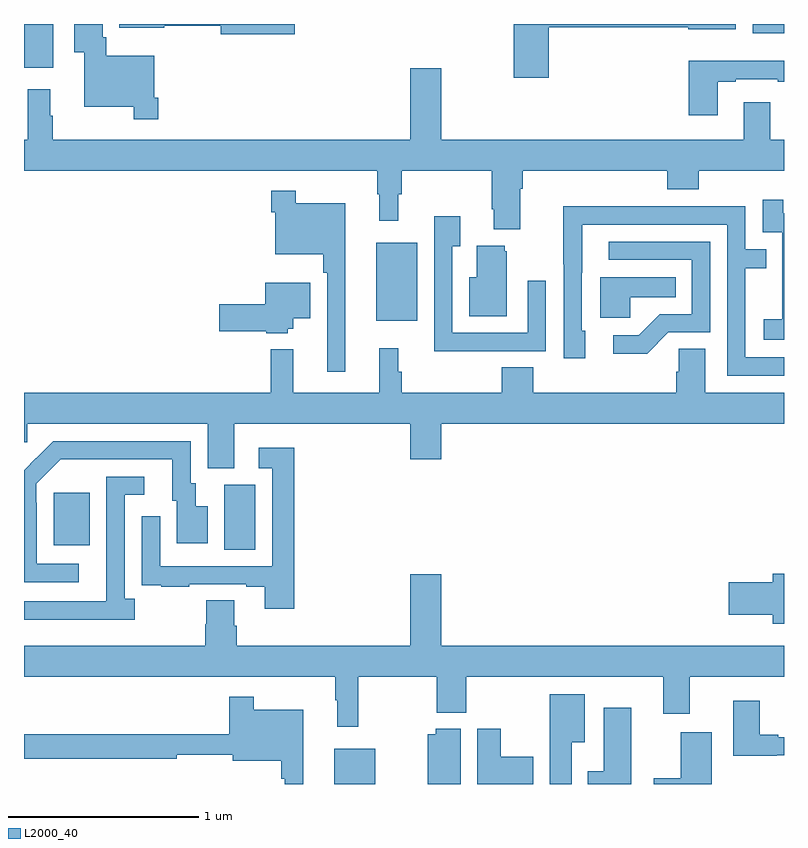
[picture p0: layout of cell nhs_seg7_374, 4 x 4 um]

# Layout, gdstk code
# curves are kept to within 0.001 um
import gdstk
lib = gdstk.Library(unit=1e-6, precision=1e-09)
def R(c, l, rs):  # rectangles x0, y0, x1, y1
    for r in rs: c.add(gdstk.rectangle(r[:2], r[2:], *l))
def P(c, l, *ps):  # polygons
    for p in ps: c.add(gdstk.Polygon(p, *l))
L2000_40 = (2000, 40)

nhs_seg7_374 = lib.new_cell('nhs_seg7_374')
R(nhs_seg7_374, L2000_40, [(140.633,1052,140.848,1052.185), (140.054,1053.232,140.218,1053.576), (139.157,1053.257,139.345,1053.532), (140.855,1054.439,141.07,1054.849), (139,1055.771,139.153,1056), (142.835,1055.952,143,1056)])
P(nhs_seg7_374, L2000_40, [(140.425,1056),(139.502,1056),(139.502,1055.981),(139.738,1055.981),(139.738,1055.992),(140.036,1055.992),(140.036,1055.945),(140.425,1055.945)],
  [(141.761,1055.983),(142.496,1055.983),(142.496,1055.972),(142.747,1055.972),(142.747,1056),(141.578,1056),(141.578,1055.718),(141.761,1055.718)],
  [(139.706,1055.611),(139.686,1055.611),(139.686,1055.833),(139.433,1055.833),(139.433,1055.929),(139.415,1055.929),(139.415,1056),(139.265,1056),(139.265,1055.852),(139.316,1055.852),(139.316,1055.564),(139.578,1055.564),(139.578,1055.499),(139.706,1055.499)],
  [(142.651,1055.697),(142.747,1055.697),(142.747,1055.709),(142.967,1055.709),(142.967,1055.697),(143,1055.697),(143,1055.806),(142.499,1055.806),(142.499,1055.52),(142.651,1055.52)],
  [(141.613,1055.132),(141.626,1055.132),(141.626,1055.228),(142.385,1055.228),(142.385,1055.129),(142.55,1055.129),(142.55,1055.228),(143,1055.228),(143,1055.392),(142.927,1055.392),(142.927,1055.587),(142.787,1055.587),(142.787,1055.392),(141.196,1055.392),(141.196,1055.767),(141.032,1055.767),(141.032,1055.392),(139.15,1055.392),(139.15,1055.516),(139.138,1055.516),(139.138,1055.656),(139.021,1055.656),(139.021,1055.392),(139,1055.392),(139,1055.228),(140.859,1055.228),(140.859,1055.105),(140.87,1055.105),(140.87,1054.965),(140.969,1054.965),(140.969,1055.105),(140.987,1055.105),(140.987,1055.228),(141.461,1055.228),(141.461,1055.026),(141.473,1055.026),(141.473,1054.919),(141.613,1054.919)],
  [(140.692,1055.056),(140.431,1055.056),(140.431,1055.122),(140.302,1055.122),(140.302,1055.009),(140.322,1055.009),(140.322,1054.787),(140.575,1054.787),(140.575,1054.691),(140.595,1054.691),(140.595,1054.17),(140.692,1054.17)],
  [(143,1055.004),(142.996,1055.004),(142.996,1055.074),(142.887,1055.074),(142.887,1054.905),(142.992,1054.905),(142.992,1054.676),(142.991,1054.676),(142.991,1054.447),(142.893,1054.447),(142.893,1054.337),(143,1054.337)],
  [(143,1054.245),(142.797,1054.245),(142.797,1054.714),(142.907,1054.714),(142.907,1054.815),(142.797,1054.815),(142.797,1055.04),(142.301,1055.04),(142.301,1055.042),(141.838,1055.042),(141.838,1054.735),(141.84,1054.735),(141.84,1054.242),(141.955,1054.242),(141.955,1054.386),(141.936,1054.386),(141.936,1054.69),(141.937,1054.69),(141.937,1054.944),(142.701,1054.944),(142.701,1054.149),(143,1054.149)],
  [(141.431,1054.278),(141.747,1054.278),(141.747,1054.648),(141.651,1054.648),(141.651,1054.374),(141.255,1054.374),(141.255,1054.831),(141.295,1054.831),(141.295,1054.987),(141.159,1054.987),(141.159,1054.277),(141.431,1054.277)],
  [(142.392,1054.377),(142.611,1054.377),(142.611,1054.854),(142.077,1054.854),(142.077,1054.758),(142.515,1054.758),(142.515,1054.473),(142.346,1054.473),(142.235,1054.362),(142.101,1054.362),(142.101,1054.265),(142.279,1054.265)],
  [(141.541,1054.803),(141.53,1054.803),(141.53,1054.834),(141.383,1054.834),(141.383,1054.666),(141.344,1054.666),(141.344,1054.463),(141.541,1054.463)],
  [(142.191,1054.562),(142.43,1054.562),(142.43,1054.666),(142.034,1054.666),(142.034,1054.454),(142.191,1054.454)],
  [(140.388,1054.395),(140.416,1054.395),(140.416,1054.451),(140.506,1054.451),(140.506,1054.639),(140.27,1054.639),(140.27,1054.526),(140.028,1054.526),(140.028,1054.384),(140.274,1054.384),(140.274,1054.373),(140.388,1054.373)],
  [(140.107,1053.896),(141.032,1053.896),(141.032,1053.708),(141.196,1053.708),(141.196,1053.896),(143,1053.896),(143,1054.06),(142.585,1054.06),(142.585,1054.292),(142.446,1054.292),(142.446,1054.169),(142.433,1054.169),(142.433,1054.06),(141.68,1054.06),(141.68,1054.193),(141.515,1054.193),(141.515,1054.06),(140.987,1054.06),(140.987,1054.169),(140.969,1054.169),(140.969,1054.294),(140.87,1054.294),(140.87,1054.06),(140.417,1054.06),(140.417,1054.288),(140.299,1054.288),(140.299,1054.06),(139,1054.06),(139,1053.798),(139.017,1053.798),(139.017,1053.896),(139.967,1053.896),(139.967,1053.661),(140.107,1053.661)],
  [(139.288,1053.159),(139.068,1053.159),(139.068,1053.479),(139.065,1053.479),(139.065,1053.579),(139.194,1053.708),(139.781,1053.708),(139.781,1053.492),(139.805,1053.492),(139.805,1053.267),(139.966,1053.267),(139.966,1053.463),(139.903,1053.463),(139.903,1053.582),(139.878,1053.582),(139.878,1053.804),(139.154,1053.804),(139,1053.652),(139,1053.063),(139.288,1053.063)],
  [(140.423,1053.769),(140.235,1053.769),(140.235,1053.663),(140.307,1053.663),(140.307,1053.147),(139.716,1053.147),(139.716,1053.409),(139.62,1053.409),(139.62,1053.154),(139.621,1053.154),(139.621,1053.045),(139.723,1053.045),(139.723,1053.039),(139.871,1053.039),(139.871,1053.051),(140.171,1053.051),(140.171,1053.039),(140.267,1053.039),(140.267,1052.922),(140.423,1052.922)],
  [(139.582,1052.974),(139.53,1052.974),(139.53,1053.522),(139.633,1053.522),(139.633,1053.618),(139.434,1053.618),(139.434,1053.161),(139.433,1053.161),(139.433,1052.961),(139,1052.961),(139,1052.864),(139.582,1052.864)],
  [(143,1053.106),(142.94,1053.106),(142.94,1053.062),(142.71,1053.062),(142.71,1052.891),(142.94,1052.891),(142.94,1052.843),(143,1052.843)],
  [(140.758,1052.564),(141.172,1052.564),(141.172,1052.375),(141.327,1052.375),(141.327,1052.564),(142.364,1052.564),(142.364,1052.37),(142.504,1052.37),(142.504,1052.564),(143,1052.564),(143,1052.728),(141.196,1052.728),(141.196,1053.103),(141.032,1053.103),(141.032,1052.728),(140.12,1052.728),(140.12,1052.834),(140.107,1052.834),(140.107,1052.966),(139.96,1052.966),(139.96,1052.841),(139.955,1052.841),(139.955,1052.728),(139,1052.728),(139,1052.564),(140.637,1052.564),(140.637,1052.441),(140.648,1052.441),(140.648,1052.301),(140.758,1052.301)],
  [(141.883,1052.219),(141.952,1052.219),(141.952,1052.473),(141.767,1052.473),(141.767,1052),(141.883,1052)],
  [(140.47,1052.392),(140.209,1052.392),(140.209,1052.458),(140.08,1052.458),(140.08,1052.263),(139,1052.263),(139,1052.134),(139.803,1052.134),(139.803,1052.153),(140.099,1052.153),(140.099,1052.123),(140.353,1052.123),(140.353,1052.027),(140.373,1052.027),(140.373,1052),(140.47,1052)],
  [(142.961,1052.151),(143,1052.151),(143,1052.247),(142.969,1052.247),(142.969,1052.26),(142.873,1052.26),(142.873,1052.437),(142.733,1052.437),(142.733,1052.15),(142.961,1052.15)],
  [(142.195,1052.401),(142.052,1052.401),(142.052,1052.068),(141.968,1052.068),(141.968,1052),(142.195,1052)],
  [(141.679,1052.143),(141.508,1052.143),(141.508,1052.29),(141.386,1052.29),(141.386,1052),(141.679,1052)],
  [(141.298,1052.29),(141.168,1052.29),(141.168,1052.263),(141.125,1052.263),(141.125,1052),(141.298,1052)],
  [(142.621,1052.272),(142.457,1052.272),(142.457,1052.031),(142.314,1052.031),(142.314,1052),(142.621,1052)])

lib.write_gds('nhs_seg7_374.gds')
